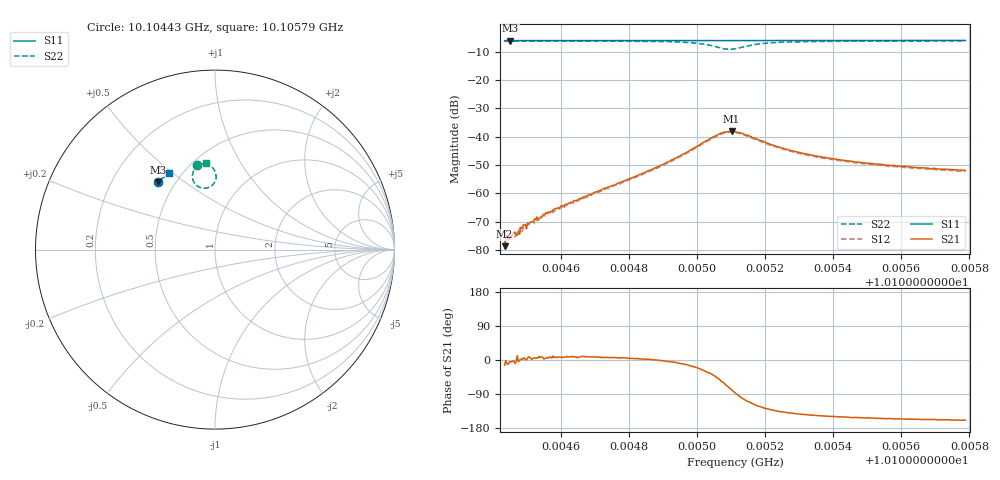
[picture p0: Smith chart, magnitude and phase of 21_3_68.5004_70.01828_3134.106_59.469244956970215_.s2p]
#  HZ  S  RI  R  50.00
! Rohde & Schwarz Vector Network Analyzer
! Rohde-Schwarz,ZNB20-2Port,1311601062101988,3.16
! Created: UTC 3/20/2024, 4:49:32 PM
! freq[Hz]  re:S11  im:S11  re:S21  im:S21  re:S12  im:S12  re:S22  im:S22
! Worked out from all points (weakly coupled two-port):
!   401 points, 10.10443 GHz to 10.10579 GHz, reference 50 ohm
!   highest |S21| = -38.13 dB at 10.1051 GHz (marker M1); lowest = -78.7 dB at 10.10443 GHz (marker M2)
!   lowest |S11| = -6.2 dB at 10.10445 GHz (marker M3), VSWR 2.94, Z = 20.1 + j20 ohm
!   |S11| at or under -10 dB: nowhere
!   |S22| runs from -9.2 to -6.3 dB; largest |S21 - S12| = 0.0014
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1.0104433e10  -0.3197 0.3746  0.000113 -2.81e-05  0.000141 -1.53e-05  -0.1028 0.4738
1.0104444e10  -0.3194 0.3751  0.000153 -3.17e-05  0.000151 -1.19e-05  -0.1018 0.474
1.010445e10  -0.3188 0.3754  0.00016 -1.32e-05  0.00016 5.62e-06  -0.1013 0.4741
1.0104457e10  -0.3186 0.3756  0.000195 -1.07e-05  0.000164 2.22e-05  -0.1007 0.4743
1.0104474e10  -0.3179 0.3763  0.000213 -1.75e-05  0.000207 -8.5e-07  -0.0992 0.4745
1.0104488e10  -0.3172 0.377  0.000273 1.23e-05  0.000226 1.84e-05  -0.0981 0.4748
1.0104518e10  -0.3159 0.3782  0.000308 2.74e-05  0.000304 5.29e-05  -0.0951 0.4753
1.0104535e10  -0.3149 0.3788  0.00035 5.89e-05  0.000346 6.67e-05  -0.0937 0.4756
1.0104582e10  -0.3129 0.3809  0.000529 7.54e-05  0.000486 0.000103  -0.089 0.4763
1.010466e10  -0.3093 0.3839  0.00079 0.000131  0.000767 0.000178  -0.0807 0.4773
1.0104887e10  -0.2986 0.3931  0.00298 -5.83e-05  0.00284 0.000209  -0.0424 0.4738
1.0104982e10  -0.2939 0.3966  0.00563 -0.00159  0.00555 -0.00105  -0.00994 0.4521
1.0105043e10  -0.2906 0.3985  0.00756 -0.00585  0.00776 -0.00489  0.00679 0.4012
1.0105074e10  -0.2894 0.3994  0.0062 -0.00982  0.00689 -0.00882  -0.0144 0.3593
1.0105101e10  -0.2883 0.4002  0.00245 -0.0122  0.00338 -0.0113  -0.0605 0.3418
1.0105111e10  -0.288 0.4006  0.000811 -0.0121  0.00186 -0.0116  -0.0788 0.3446
1.0105148e10  -0.2865 0.402  -0.00351 -0.0099  -0.00254 -0.0097  -0.1195 0.3798
1.0105199e10  -0.2843 0.4042  -0.0048 -0.00626  -0.00404 -0.00643  -0.1243 0.4239
1.0105263e10  -0.2813 0.4068  -0.00447 -0.00393  -0.00395 -0.00413  -0.1113 0.4505
1.0105338e10  -0.2775 0.4094  -0.00387 -0.00267  -0.00345 -0.00288  -0.0968 0.4642
1.0105565e10  -0.2664 0.4176  -0.00281 -0.00133  -0.00255 -0.0015  -0.0679 0.4785
1.0105788e10  -0.255 0.4251  -0.00236 -0.000907  -0.00217 -0.00107  -0.0477 0.4835
